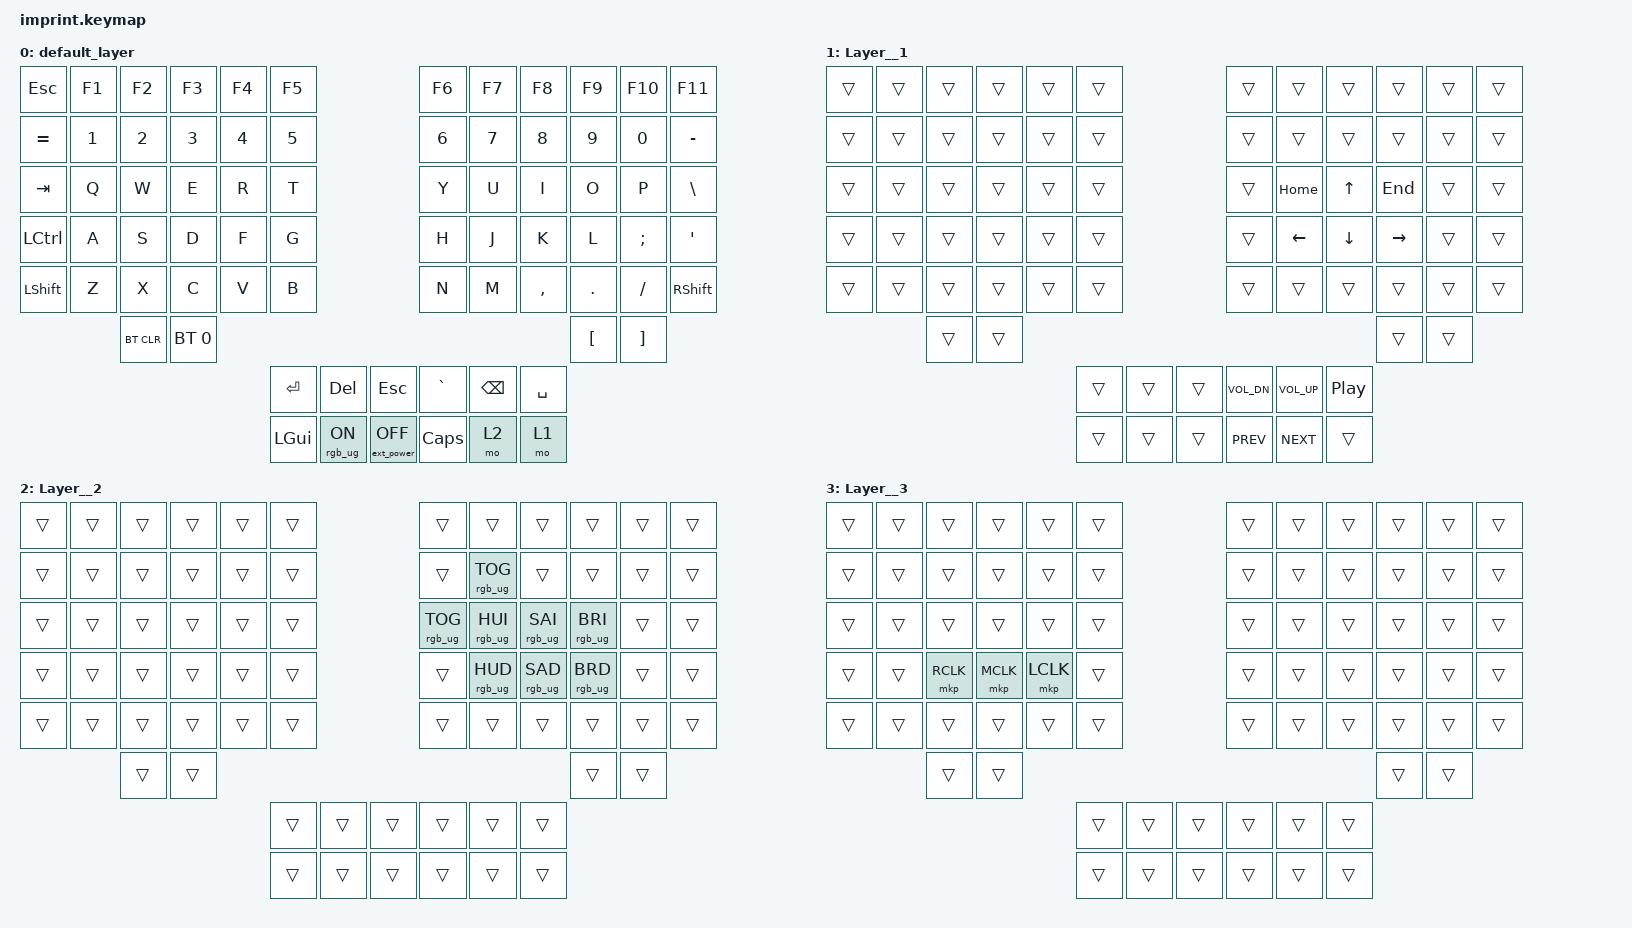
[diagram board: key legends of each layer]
#include <behaviors.dtsi>
#include <dt-bindings/zmk/keys.h>
#include <dt-bindings/zmk/rgb.h>
#include <dt-bindings/zmk/ext_power.h>
#include <dt-bindings/zmk/bt.h>
#include <dt-bindings/zmk/pointing.h>
#include <input/processors.dtsi>
#include <dt-bindings/zmk/input_transform.h>

/ {
    keymap {
        compatible = "zmk,keymap";

        default_layer {
            bindings = <
 &kp ESC    &kp F1    &kp F2    &kp F3    &kp F4  &kp F5                                         &kp F6      &kp F7     &kp F8    &kp F9   &kp F10  &kp F11
 &kp EQL    &kp N1    &kp N2    &kp N3    &kp N4  &kp N5                                         &kp N6      &kp N7     &kp N8    &kp N9   &kp N0   &kp MINUS
 &kp TAB    &kp Q     &kp W     &kp E     &kp R   &kp T                                          &kp Y       &kp U      &kp I     &kp O    &kp P    &kp BSLH
 &kp LCTRL  &kp A     &kp S     &kp D     &kp F   &kp G                                          &kp H       &kp J      &kp K     &kp L    &kp SEMI &kp SQT
 &kp LSHFT  &kp Z     &kp X     &kp C     &kp V   &kp B                                          &kp N       &kp M      &kp COMMA &kp DOT  &kp FSLH &kp RSHFT
                      &bt BT_CLR  &bt BT_SEL 0                                                                                &kp LBKT  &kp RBKT
                                                  &kp RET   &kp DEL        &kp ESC              &kp GRAVE &kp BSPC &kp SPACE
                                                  &kp LGUI  &rgb_ug RGB_ON &ext_power EP_OFF    &kp CAPS &mo 2 &mo 1
            >;
        };

        Layer__1 {
            bindings = <
 &trans  &trans  &trans  &trans  &trans  &trans                                     &trans  &trans   &trans   &trans    &trans  &trans
 &trans  &trans  &trans  &trans  &trans  &trans                                     &trans  &trans   &trans   &trans    &trans  &trans
 &trans  &trans  &trans  &trans  &trans  &trans                                     &trans  &kp HOME &kp UP   &kp END   &trans  &trans
 &trans  &trans  &trans  &trans  &trans  &trans                                     &trans  &kp LEFT &kp DOWN &kp RIGHT &trans  &trans
 &trans  &trans  &trans  &trans  &trans  &trans                                     &trans  &trans   &trans   &trans    &trans  &trans
                 &trans  &trans                                                                      &trans   &trans
                                      &trans  &trans &trans       &kp C_VOL_DN &kp C_VOL_UP &kp C_PP
                                      &trans  &trans &trans       &kp C_PREV   &kp C_NEXT   &trans
            >;
        };

        Layer__2 {
            bindings = <
 &trans  &trans  &trans  &trans  &trans  &trans                                     &trans  &trans  &trans  &trans  &trans  &trans
 &trans  &trans  &trans  &trans  &trans  &trans                                     &trans  &rgb_ug RGB_TOG  &trans  &trans  &trans  &trans
 &trans  &trans  &trans  &trans  &trans  &trans                                     &rgb_ug RGB_TOG  &rgb_ug RGB_HUI  &rgb_ug RGB_SAI  &rgb_ug RGB_BRI  &trans  &trans
 &trans  &trans  &trans  &trans  &trans  &trans                                     &trans  &rgb_ug RGB_HUD  &rgb_ug RGB_SAD  &rgb_ug RGB_BRD  &trans  &trans
 &trans  &trans  &trans  &trans  &trans  &trans                                     &trans  &trans  &trans  &trans  &trans  &trans
                 &trans  &trans                                                                     &trans  &trans
                                         &trans  &trans &trans        &trans &trans &trans
                                         &trans  &trans &trans        &trans &trans &trans
            >;
        };

        Layer__3 {
            bindings = <
 &trans  &trans  &trans  &trans  &trans  &trans                                     &trans  &trans  &trans  &trans  &trans  &trans
 &trans  &trans  &trans  &trans  &trans  &trans                                     &trans  &trans  &trans  &trans  &trans  &trans
 &trans  &trans  &trans  &trans  &trans  &trans                                     &trans  &trans  &trans  &trans  &trans  &trans
 &trans  &trans  &mkp RCLK  &mkp MCLK  &mkp LCLK  &trans                            &trans  &trans  &trans  &trans  &trans  &trans
 &trans  &trans  &trans  &trans  &trans  &trans                                     &trans  &trans  &trans  &trans  &trans  &trans
                 &trans  &trans                                                                     &trans  &trans
                                         &trans  &trans &trans        &trans &trans &trans
                                         &trans  &trans &trans        &trans &trans &trans
            >;
        };
    };
};

